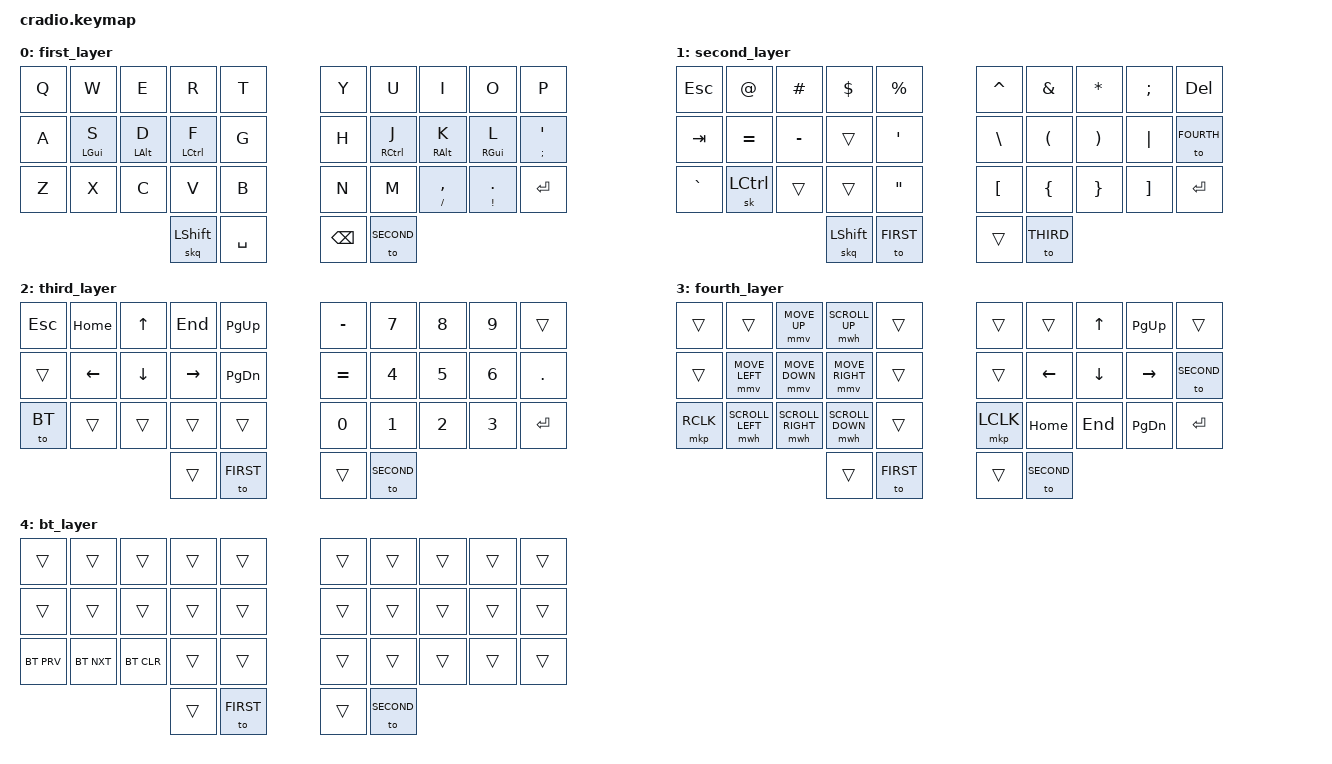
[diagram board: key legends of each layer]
/*
 * Copyright (c) 2020 The ZMK Contributors
 *
 * SPDX-License-Identifier: MIT
 */

#include <behaviors.dtsi>
#include <dt-bindings/zmk/keys.h>
#include <dt-bindings/zmk/bt.h>
#include <dt-bindings/zmk/mouse.h>


#define FIRST 0
#define SECOND 1
#define THIRD 2
#define FOURTH 3
#define BT 4


&mt {
    // flavor = "tap-preferred";
    // tapping_term_ms = <200>;
};

&mmv {
   time-to-max-speed-ms = <100>;
   acceleration-exponent = <2>;
};

/ {
    behaviors {
		skq: sticky_key_quick_release {
			compatible = "zmk,behavior-sticky-key";
			label = "STICKY_KEY_QUICK_RELEASE";
			#binding-cells = <1>;
			bindings = <&kp>;
			release-after-ms = <2000>;
			quick-release;
		};
		
        hm: homerow_mods {
            compatible = "zmk,behavior-hold-tap";
            label = "HOMEROW_MODS";
            #binding-cells = <2>;
            tapping-term-ms = <300>;
            quick_tap_ms = <0>;
            flavor = "tap-preferred";
            bindings = <&kp>, <&kp>;
        };
        
        td: tapdance {
            compatible = "zmk,behavior-hold-tap";
            label = "TAPDANCE";
            #binding-cells = <2>;
            tapping-term-ms = <200>;
            quick_tap_ms = <0>;
            flavor = "tap-preferred";
            bindings = <&kp>, <&kp>;
        };
    };
	
	// TODO: normalise space and switching as well as return keys

    keymap {
        compatible = "zmk,keymap";
        
        first_layer {
            bindings = <
                &kp Q &kp W      &kp E      &kp R       &kp T          &kp Y    &kp U       &kp I          &kp O        &kp P
                &kp A &hm LGUI S &hm LALT D &hm LCTRL F &kp G          &kp H    &hm RCTRL J &hm RALT K     &hm RGUI L   &td SEMI QUOT
                &kp Z &kp X      &kp C      &kp V       &kp B          &kp N    &kp M       &td SLASH CMMA &td EXCL DOT &kp RET
                                            &skq LSHIFT &kp SPC        &kp BKSP &to SECOND
            >;
        };

        second_layer {
            bindings = <
                &kp ESC   &kp AT    &kp HASH  &kp DLLR  &kp PRCNT       &kp CARET &kp AMPS  &kp STAR &kp SEMI &kp DEL
                &kp TAB   &kp EQUAL &kp MINUS &trans    &kp SQT         &kp BSLH  &kp LPRN  &kp RPRN &kp PIPE &to FOURTH
                &kp GRAVE &sk LCTRL &trans    &trans    &kp DQT         &kp LBKT  &kp LBRC  &kp RBRC &kp RBKT &kp RET
                                              &skq LSHFT &to FIRST      &trans  &to THIRD
            >;
        };
        
        third_layer {
            bindings = <  // Add the cursor keys to this layer as well
                &kp ESC &kp HOME &kp UP   &kp END   &kp PG_UP       &kp MINUS &kp N7    &kp N8 &kp N9 &trans
                &trans  &kp LEFT &kp DOWN &kp RIGHT &kp PG_DN       &kp EQUAL &kp N4    &kp N5 &kp N6 &kp DOT
                &to BT  &trans   &trans   &trans    &trans          &kp N0    &kp N1    &kp N2 &kp N3 &kp RET
                                          &trans    &to FIRST       &trans  &to SECOND
            >;
        };  
    
        fourth_layer {
            bindings = <
                &trans    &trans           &mmv MOVE_UP      &mwh SCROLL_UP   &trans          &trans    &trans     &kp UP   &kp PG_UP &trans
                &trans    &mmv MOVE_LEFT   &mmv MOVE_DOWN    &mmv MOVE_RIGHT  &trans          &trans    &kp LEFT   &kp DOWN &kp RIGHT &to SECOND
                &mkp RCLK &mwh SCROLL_LEFT &mwh SCROLL_RIGHT &mwh SCROLL_DOWN &trans          &mkp LCLK &kp HOME   &kp END  &kp PG_DN &kp RET
                                                             &trans           &to FIRST       &trans  &to SECOND
            >;
        };
        
        bt_layer {
            bindings = <
                &trans     &trans     &trans     &trans    &trans      &trans &trans     &trans &trans &trans
                &trans     &trans     &trans     &trans    &trans      &trans &trans     &trans &trans &trans
                &bt BT_PRV &bt BT_NXT &bt BT_CLR &trans    &trans      &trans &trans     &trans &trans &trans
                                                 &trans    &to FIRST   &trans &to SECOND
            >;
        };
    };
};
